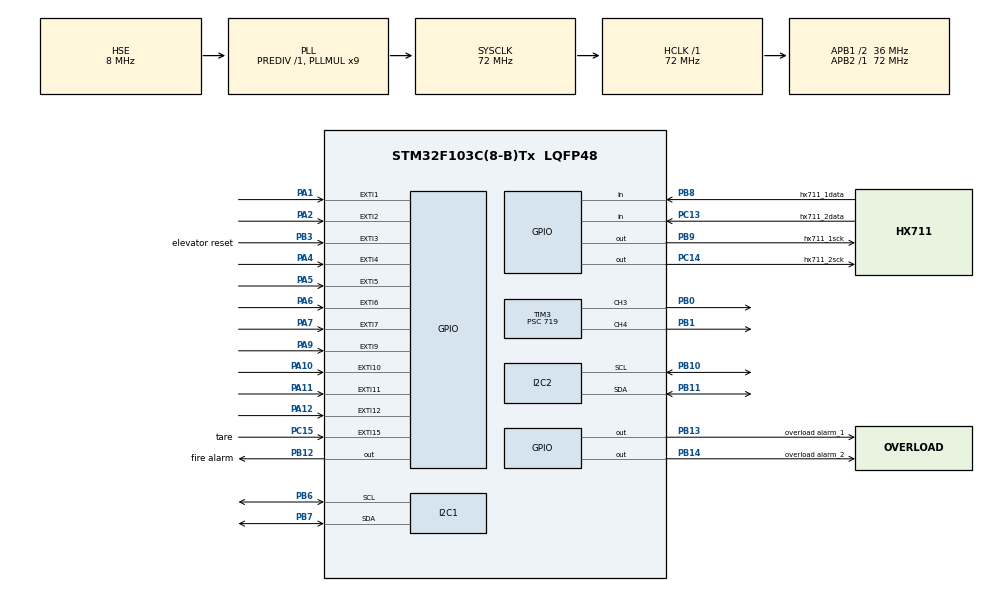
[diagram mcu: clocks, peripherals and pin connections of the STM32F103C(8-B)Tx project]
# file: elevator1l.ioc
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Mcu.Family=STM32F1
Mcu.Name=STM32F103C(8-B)Tx
Mcu.Package=LQFP48
NVIC.EXTI15_10_IRQn=true\:0\:0\:false\:false\:true\:true\:true\:true
NVIC.EXTI1_IRQn=true\:0\:0\:false\:false\:true\:true\:true\:true
NVIC.EXTI2_IRQn=true\:0\:0\:false\:false\:true\:true\:true\:true
NVIC.EXTI3_IRQn=true\:0\:0\:false\:false\:true\:true\:true\:true
NVIC.EXTI4_IRQn=true\:0\:0\:false\:false\:true\:true\:true\:true
NVIC.EXTI9_5_IRQn=true\:0\:0\:false\:false\:true\:true\:true\:true
NVIC.PriorityGroup=NVIC_PRIORITYGROUP_4
PA1.GPIO_ModeDefaultEXTI=GPIO_MODE_IT_FALLING
PA1.GPIO_PuPd=GPIO_PULLUP
PA1.Signal=GPXTI1
PA10.GPIO_ModeDefaultEXTI=GPIO_MODE_IT_FALLING
PA10.GPIO_PuPd=GPIO_PULLUP
PA10.Signal=GPXTI10
PA11.GPIO_ModeDefaultEXTI=GPIO_MODE_IT_FALLING
PA11.GPIO_PuPd=GPIO_PULLUP
PA11.Signal=GPXTI11
PA12.GPIO_ModeDefaultEXTI=GPIO_MODE_IT_FALLING
PA12.GPIO_PuPd=GPIO_PULLUP
PA12.Signal=GPXTI12
PA13.Mode=Serial_Wire
PA13.Signal=SYS_JTMS-SWDIO
PA14.Mode=Serial_Wire
PA14.Signal=SYS_JTCK-SWCLK
PA2.GPIO_ModeDefaultEXTI=GPIO_MODE_IT_FALLING
PA2.GPIO_PuPd=GPIO_PULLUP
PA2.Signal=GPXTI2
PA4.GPIO_ModeDefaultEXTI=GPIO_MODE_IT_FALLING
PA4.GPIO_PuPd=GPIO_PULLUP
PA4.Signal=GPXTI4
PA5.GPIO_ModeDefaultEXTI=GPIO_MODE_IT_FALLING
PA5.GPIO_PuPd=GPIO_PULLUP
PA5.Signal=GPXTI5
PA6.GPIO_ModeDefaultEXTI=GPIO_MODE_IT_FALLING
PA6.GPIO_PuPd=GPIO_PULLUP
PA6.Signal=GPXTI6
PA7.GPIO_ModeDefaultEXTI=GPIO_MODE_IT_FALLING
PA7.GPIO_PuPd=GPIO_PULLUP
PA7.Signal=GPXTI7
PA9.GPIO_ModeDefaultEXTI=GPIO_MODE_IT_FALLING
PA9.GPIO_PuPd=GPIO_PULLUP
PA9.Signal=GPXTI9
PB0.Signal=S_TIM3_CH3
PB1.Signal=S_TIM3_CH4
PB10.Mode=I2C
PB10.Signal=I2C2_SCL
PB11.Mode=I2C
PB11.Signal=I2C2_SDA
PB12.GPIO_Label=fire alarm
PB12.PinState=GPIO_PIN_RESET
PB12.Signal=GPIO_Output
PB13.GPIO_Label=overload alarm_1
PB13.Signal=GPIO_Output
PB14.GPIO_Label=overload alarm_2
PB14.Signal=GPIO_Output
PB3.GPIO_Label=elevator reset
PB3.GPIO_ModeDefaultEXTI=GPIO_MODE_IT_FALLING
PB3.GPIO_PuPd=GPIO_PULLUP
PB3.Signal=GPXTI3
PB6.Mode=I2C
PB6.Signal=I2C1_SCL
PB7.Mode=I2C
PB7.Signal=I2C1_SDA
PB8.GPIO_Label=hx711_1data
PB8.GPIO_PuPd=GPIO_PULLUP
PB8.Signal=GPIO_Input
PB9.GPIO_Label=hx711_1sck
PB9.Signal=GPIO_Output
PC13-TAMPER-RTC.GPIO_Label=hx711_2data
PC13-TAMPER-RTC.GPIO_PuPd=GPIO_PULLUP
PC13-TAMPER-RTC.Signal=GPIO_Input
PC14-OSC32_IN.GPIO_Label=hx711_2sck
PC14-OSC32_IN.Signal=GPIO_Output
PC15-OSC32_OUT.GPIO_Label=tare
PC15-OSC32_OUT.GPIO_ModeDefaultEXTI=GPIO_MODE_IT_FALLING
PC15-OSC32_OUT.GPIO_PuPd=GPIO_PULLUP
PC15-OSC32_OUT.Signal=GPXTI15
PD0-OSC_IN.Mode=HSE-External-Oscillator
PD0-OSC_IN.Signal=RCC_OSC_IN
PD1-OSC_OUT.Mode=HSE-External-Oscillator
PD1-OSC_OUT.Signal=RCC_OSC_OUT
ProjectManager.HeapSize=0x200
ProjectManager.StackSize=0x400
ProjectManager.TargetToolchain=STM32CubeIDE
RCC.AHBFreq_Value=72000000
RCC.APB1CLKDivider=RCC_HCLK_DIV2
RCC.APB1Freq_Value=36000000
RCC.APB1TimFreq_Value=72000000
RCC.APB2Freq_Value=72000000
RCC.APB2TimFreq_Value=72000000
RCC.HCLKFreq_Value=72000000
RCC.PLLMUL=RCC_PLL_MUL9
RCC.PLLSourceVirtual=RCC_PLLSOURCE_HSE
RCC.SYSCLKFreq_VALUE=72000000
RCC.SYSCLKSource=RCC_SYSCLKSOURCE_PLLCLK
RCC.USBFreq_Value=72000000
SH.S_TIM3_CH3.0=TIM3_CH3,PWM Generation3 CH3
SH.S_TIM3_CH4.0=TIM3_CH4,PWM Generation4 CH4
TIM3.Channel-PWM\ Generation3\ CH3=TIM_CHANNEL_3
TIM3.Channel-PWM\ Generation4\ CH4=TIM_CHANNEL_4
TIM3.Period=1999
TIM3.Prescaler=719
VP_TIM3_VS_ClockSourceINT.Mode=Internal
board=custom

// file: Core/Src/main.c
/* USER CODE BEGIN Header */
/**
 ******************************************************************************
 * @file           : main.c
 * @brief          : Main program body
 ******************************************************************************
 * @attention
 *
 * Copyright (c) 2026 STMicroelectronics.
 * All rights reserved.
 *
 * This software is licensed under terms that can be found in the LICENSE file
 * in the root directory of this software component.
 * If no LICENSE file comes with this software, it is provided AS-IS.
 *
 ******************************************************************************
 */
/* USER CODE END Header */
#include "main.h"
#include "i2c.h"
#include "tim.h"
#include "gpio.h"

/* USER CODE BEGIN Includes */
#include "stdio.h"
#include <oled.h>
#include "hx711.h"
#include "aht20.h"
#include <oled1.h>
#include "math.h"
/* USER CODE END Includes */

void SystemClock_Config(void);

/* USER CODE BEGIN 0 */

float t;                           //温度，过高则代表火警
int floor2_now;                     //2号电梯现在所在的楼层
int floor2_will;                    //2号电梯将要到达的楼层
int floor1_now;                     //1号电梯现在所在的楼层
int floor1_will;                    //1号电梯将要到达的楼层
float weight_1;
float weight_2;

HX711 data = {                      //hx711信息2
		.gpioSck = GPIOC, .gpioData = GPIOC, .pinSck = GPIO_PIN_14, .pinData =
		GPIO_PIN_13, .offset = 0, .gain = 1 };
HX711 data1 = { .gpioSck = GPIOB, .gpioData = GPIOB, .pinSck = GPIO_PIN_9,
		.pinData =
		GPIO_PIN_8, .offset = 0, .gain = 1 };

/* USER CODE END 0 */

int main(void)
{

  /* MCU Configuration--------------------------------------------------------*/

  /* Reset of all peripherals, Initializes the Flash interface and the Systick. */
  HAL_Init();

  /* Configure the system clock */
  SystemClock_Config();

  /* Initialize all configured peripherals */
  MX_GPIO_Init();
  MX_I2C1_Init();
  MX_I2C2_Init();
  MX_TIM3_Init();
  /* USER CODE BEGIN 2 */
	HAL_Delay(50);
	OLED_Init();
	OLED1_Init();

	HAL_Delay(50);
	AHT20_Init();                 //温湿度传感器使用i2c1
	HAL_Delay(50);

	HX711_Init(data);
	HAL_Delay(100);

	HAL_TIM_PWM_Start(&htim3, TIM_CHANNEL_ALL);

//	int floor1;                         //电梯1实际楼层
//	int floor2;                         //电梯2实际楼层
//	int temp;                           //环境温度，用于显示火警
//	int weight1;                        //电梯1载重
//	int weight2;                        //电梯2载重
	char message1_f[24] = "";             //电梯1中显示屏内容1_floor
	char message2_f[24] = "";           //电梯2中显示屏内容2_floor
	char message1_w[24] = "";
	char message2_w[24] = "";
//	double t;                           //温度，过高则代表火警
//	typedef enum {                       //电梯运行状态
//		up, down, still
//	} state;

	__HAL_TIM_SET_COMPARE(&htim3, TIM_CHANNEL_4, 50);
	__HAL_TIM_SET_COMPARE(&htim3, TIM_CHANNEL_3, 50);
	OLED_NewFrame();
	OLED1_NewFrame();
	OLED_PrintString(0, 0, "1楼", &font16x16, OLED_COLOR_NORMAL);
	OLED1_PrintString(0, 0, "1楼", &font16x16, OLED_COLOR_NORMAL);
	OLED_ShowFrame();
	OLED1_ShowFrame();

  /* USER CODE END 2 */

  /* Infinite loop */
  /* USER CODE BEGIN WHILE */
	while (1) {

		t = AHT20_Temp();
		if (t >= 25) {
			HAL_TIM_PWM_Stop(&htim3, TIM_CHANNEL_3); // 这里就近停下的功能在使用舵机的情况下似乎有点难以实现，先用直接停止代替。。。
			HAL_TIM_PWM_Stop(&htim3, TIM_CHANNEL_4);
			HAL_GPIO_WritePin(GPIOB, GPIO_PIN_12, GPIO_PIN_SET);   //光报警

			OLED_NewFrame();
			OLED_PrintString(0, 0, "火警", &font16x16, OLED_COLOR_NORMAL);
			OLED_ShowFrame();
			OLED1_NewFrame();
			OLED1_PrintString(0, 0, "火警", &font16x16, OLED_COLOR_NORMAL);
			OLED1_ShowFrame();

			HAL_NVIC_DisableIRQ(EXTI0_IRQn);      // 禁用 EXTI Line0 中断
			HAL_NVIC_DisableIRQ(EXTI1_IRQn);      // 禁用 EXTI Line1 中断
			HAL_NVIC_DisableIRQ(EXTI2_IRQn);      // 禁用 EXTI Line2 中断
			HAL_NVIC_DisableIRQ(EXTI3_IRQn);      // 禁用 EXTI Line3 中断
			HAL_NVIC_DisableIRQ(EXTI4_IRQn);      // 禁用 EXTI Line4 中断
			HAL_NVIC_DisableIRQ(EXTI9_5_IRQn);    // 禁用 EXTI Line5-9 中断
			HAL_NVIC_DisableIRQ(EXTI15_10_IRQn);  // 禁用 EXTI Line10-15 中断
		} else {
			HAL_TIM_PWM_Start(&htim3, TIM_CHANNEL_3);
			HAL_TIM_PWM_Start(&htim3, TIM_CHANNEL_4);
			HAL_GPIO_WritePin(GPIOB, GPIO_PIN_12, GPIO_PIN_RESET);
			OLED_NewFrame();

			HAL_NVIC_EnableIRQ(EXTI0_IRQn);      // 启用 EXTI Line0 中断
			HAL_NVIC_EnableIRQ(EXTI1_IRQn);      // 启用 EXTI Line1 中断
			HAL_NVIC_EnableIRQ(EXTI2_IRQn);      // 启用 EXTI Line2 中断
			HAL_NVIC_EnableIRQ(EXTI3_IRQn);      // 启用 EXTI Line3 中断
			HAL_NVIC_EnableIRQ(EXTI4_IRQn);      // 启用 EXTI Line4 中断
			HAL_NVIC_EnableIRQ(EXTI9_5_IRQn);    // 启用 EXTI Line5-9 中断
			HAL_NVIC_EnableIRQ(EXTI15_10_IRQn);  // 启用 EXTI Line10-15 中断

		weight_2 = HX711_getweight(data, 10, 353, 8300000);
		weight_1 = HX711_getweight1(data1, 10, 352, 8328440);
		if (weight_1 > 2000) {
			HAL_GPIO_WritePin(GPIOB, GPIO_PIN_13, SET);
			OLED1_NewFrame();
			OLED1_PrintString(0, 0, "超", &font16x16, OLED_COLOR_NORMAL);
			OLED_PrintString(16, 0, "重", &font16x16, OLED_COLOR_NORMAL);
			OLED1_ShowFrame();
			HAL_Delay(1000);
		} else {
			HAL_GPIO_WritePin(GPIOB, GPIO_PIN_13, RESET);
			OLED1_NewFrame();
		}
		if (weight_2 > 2000) {
			HAL_GPIO_WritePin(GPIOB, GPIO_PIN_14, SET);
			OLED_NewFrame();
			OLED_PrintString(0, 0, "超重", &font16x16, OLED_COLOR_NORMAL);
			OLED_ShowFrame();
			HAL_Delay(1000);
		} else {
			HAL_GPIO_WritePin(GPIOB, GPIO_PIN_14, RESET);
			OLED_NewFrame();
		}

		//第二部电梯控制程序

		floor2_now = (__HAL_TIM_GET_COMPARE(&htim3,TIM_CHANNEL_4) - 10) / 40; //电梯将要到达的楼层
		//floor2_now = floor2_will;                                  //显示电梯实际到达的楼层
		floor1_now = (__HAL_TIM_GET_COMPARE(&htim3,TIM_CHANNEL_3) - 10) / 40;
		sprintf(message1_f, "%d", floor1_now);
		sprintf(message2_f, "%d", floor2_now);
		sprintf(message1_w, "%.1f", weight_1);
		sprintf(message2_w, "%.1f", weight_2);
		OLED_NewFrame();
		OLED1_NewFrame();
		OLED_PrintString(0, 0, message2_f, &font16x16, OLED_COLOR_NORMAL);
		OLED_PrintString(17, 0, "楼", &font16x16, OLED_COLOR_NORMAL);
		OLED_PrintString(0, 17, "质量", &font16x16, OLED_COLOR_NORMAL);
		OLED_PrintString(41, 17, message2_w, &font16x16, OLED_COLOR_NORMAL);
		OLED1_PrintString(0, 0, message1_f, &font16x16, OLED_COLOR_NORMAL);
		OLED1_PrintString(17, 0, "楼", &font16x16, OLED_COLOR_NORMAL);
		OLED1_PrintString(0, 17, "质量", &font16x16, OLED_COLOR_NORMAL);
		OLED1_PrintString(41, 17, message1_w, &font16x16, OLED_COLOR_NORMAL);
		OLED_ShowFrame();
		OLED1_ShowFrame();
		}
    /* USER CODE END WHILE */

	}
}

void SystemClock_Config(void)
{
  RCC_OscInitTypeDef RCC_OscInitStruct = {0};
  RCC_ClkInitTypeDef RCC_ClkInitStruct = {0};

  /** Initializes the RCC Oscillators according to the specified parameters
  * in the RCC_OscInitTypeDef structure.
  */
  RCC_OscInitStruct.OscillatorType = RCC_OSCILLATORTYPE_HSE;
  RCC_OscInitStruct.HSEState = RCC_HSE_ON;
  RCC_OscInitStruct.HSEPredivValue = RCC_HSE_PREDIV_DIV1;
  RCC_OscInitStruct.HSIState = RCC_HSI_ON;
  RCC_OscInitStruct.PLL.PLLState = RCC_PLL_ON;
  RCC_OscInitStruct.PLL.PLLSource = RCC_PLLSOURCE_HSE;
  RCC_OscInitStruct.PLL.PLLMUL = RCC_PLL_MUL9;
  if (HAL_RCC_OscConfig(&RCC_OscInitStruct) != HAL_OK)
  {
    Error_Handler();
  }

  /** Initializes the CPU, AHB and APB buses clocks
  */
  RCC_ClkInitStruct.ClockType = RCC_CLOCKTYPE_HCLK|RCC_CLOCKTYPE_SYSCLK
                              |RCC_CLOCKTYPE_PCLK1|RCC_CLOCKTYPE_PCLK2;
  RCC_ClkInitStruct.SYSCLKSource = RCC_SYSCLKSOURCE_PLLCLK;
  RCC_ClkInitStruct.AHBCLKDivider = RCC_SYSCLK_DIV1;
  RCC_ClkInitStruct.APB1CLKDivider = RCC_HCLK_DIV2;
  RCC_ClkInitStruct.APB2CLKDivider = RCC_HCLK_DIV1;

  if (HAL_RCC_ClockConfig(&RCC_ClkInitStruct, FLASH_LATENCY_2) != HAL_OK)
  {
    Error_Handler();
  }
}

void Error_Handler(void)
{
	__disable_irq();
	while (1) {
	}
}
